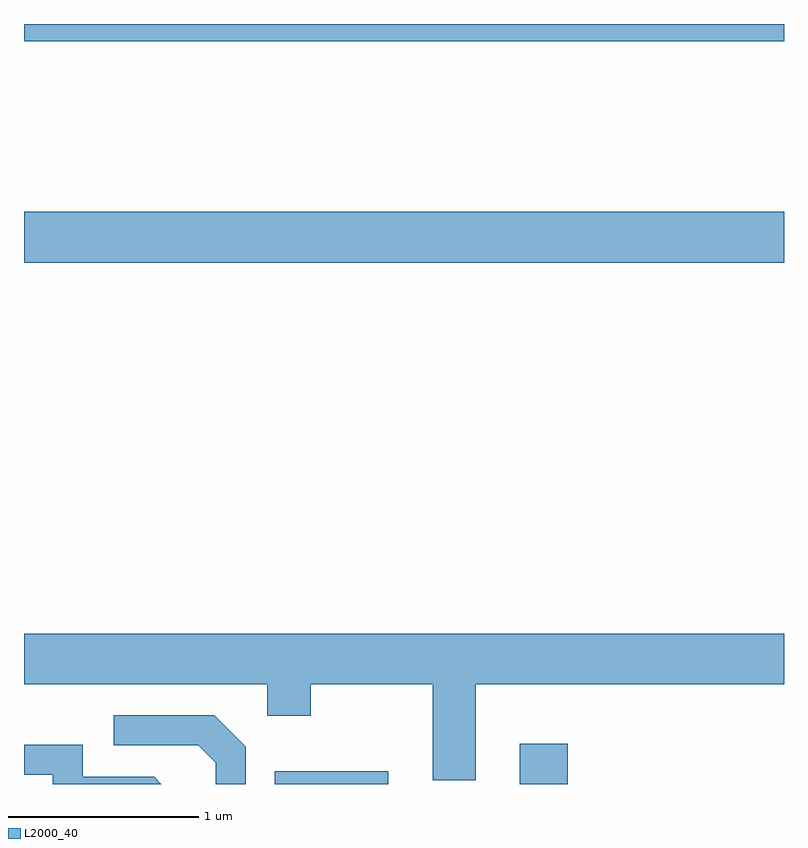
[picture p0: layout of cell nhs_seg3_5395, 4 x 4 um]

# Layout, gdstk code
import gdstk
lib = gdstk.Library(unit=1e-6, precision=1e-09)
def R(c, l, rs):  # rectangles x0, y0, x1, y1
    for r in rs: c.add(gdstk.rectangle(r[:2], r[2:], *l))
def P(c, l, *ps):  # polygons
    for p in ps: c.add(gdstk.Polygon(p, *l))
L2000_40 = (2000, 40)

nhs_seg3_5395 = lib.new_cell('nhs_seg3_5395')
R(nhs_seg3_5395, L2000_40, [(344.931,1169.892,345.529,1169.959), (346.221,1169.892,346.474,1170.104), (343.611,1172.636,347.611,1172.904), (343.611,1173.801,347.611,1173.892)])
P(nhs_seg3_5395, L2000_40, [(345.989,1170.416),(347.611,1170.416),(347.611,1170.684),(343.611,1170.684),(343.611,1170.416),(344.891,1170.416),(344.891,1170.251),(345.119,1170.251),(345.119,1170.416),(345.761,1170.416),(345.761,1169.911),(345.989,1169.911)],
  [(344.779,1170.087),(344.612,1170.254),(344.083,1170.254),(344.083,1170.096),(344.529,1170.096),(344.621,1170.004),(344.621,1169.892),(344.779,1169.892)],
  [(344.297,1169.929),(343.919,1169.929),(343.919,1170.099),(343.611,1170.099),(343.611,1169.941),(343.761,1169.941),(343.761,1169.892),(344.334,1169.892)])

lib.write_gds('nhs_seg3_5395.gds')
